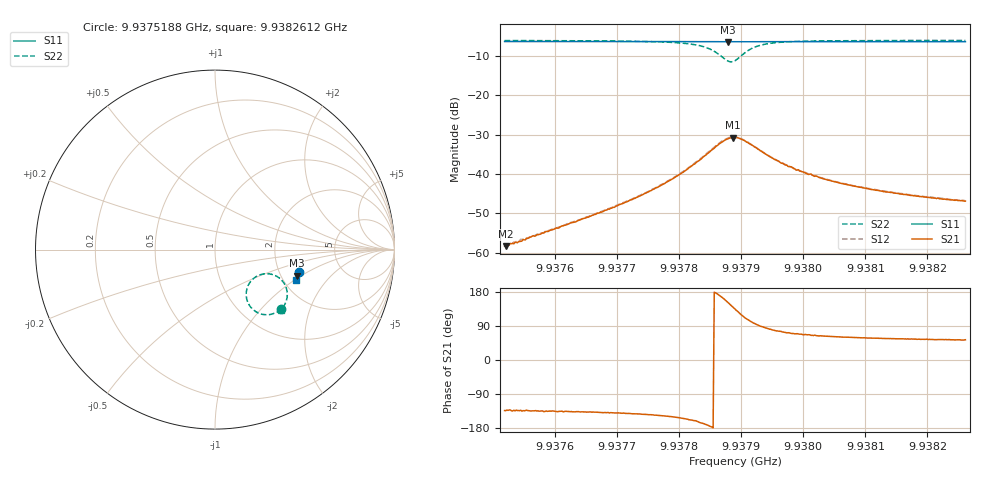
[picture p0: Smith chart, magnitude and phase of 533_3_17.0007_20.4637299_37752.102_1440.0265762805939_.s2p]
#  HZ  S  RI  R  50.00
! Rohde & Schwarz Vector Network Analyzer
! Rohde-Schwarz,ZNB20-2Port,1311601062101988,3.16
! Created: UTC 3/20/2024, 11:16:00 PM
! freq[Hz]  re:S11  im:S11  re:S21  im:S21  re:S12  im:S12  re:S22  im:S22
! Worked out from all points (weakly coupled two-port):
!   401 points, 9.9375188 GHz to 9.9382612 GHz, reference 50 ohm
!   highest |S21| = -30.75 dB at 9.9378863 GHz (marker M1); lowest = -58.3 dB at 9.9375207 GHz (marker M2)
!   lowest |S11| = -6.4 dB at 9.9378789 GHz (marker M3), VSWR 2.83, Z = 121 - j45.6 ohm
!   |S11| at or under -10 dB: nowhere
!   |S22| runs from -11.5 to -6.1 dB; largest |S21 - S12| = 0.0012
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9.93751884e9  0.4668 -0.1227  -0.000834 -0.00088  -0.000866 -0.000859  0.3692 -0.3318
9.9375207e9  0.4667 -0.1227  -0.000835 -0.000876  -0.000866 -0.000856  0.3689 -0.3318
9.93754297e9  0.4662 -0.1243  -0.000961 -0.00101  -0.000974 -0.00104  0.3668 -0.3337
9.93764319e9  0.4638 -0.1311  -0.00195 -0.00184  -0.00199 -0.00182  0.353 -0.3436
9.93771371e9  0.462 -0.1359  -0.00341 -0.00276  -0.00347 -0.00277  0.3368 -0.3524
9.93776753e9  0.4604 -0.1395  -0.00578 -0.00384  -0.00593 -0.00383  0.3137 -0.3604
9.9378065e9  0.4591 -0.1423  -0.00947 -0.00459  -0.00975 -0.00458  0.2809 -0.3629
9.93783805e9  0.4576 -0.1443  -0.0159 -0.00364  -0.0161 -0.00345  0.2307 -0.3479
9.93785846e9  0.4563 -0.1452  -0.022 0.00106  -0.0226 0.00149  0.1868 -0.3015
9.9378696e9  0.4555 -0.1455  -0.0247 0.00671  -0.0253 0.00772  0.1737 -0.2516
9.93787888e9  0.4551 -0.145  -0.0246 0.0133  -0.0248 0.0145  0.1846 -0.1998
9.9378863e9  0.4552 -0.1451  -0.0223 0.0186  -0.0221 0.0195  0.2123 -0.163
9.93789001e9  0.4554 -0.1449  -0.0203 0.0206  -0.0199 0.0216  0.2312 -0.1494
9.93789929e9  0.4557 -0.1449  -0.0141 0.0241  -0.0136 0.0248  0.2837 -0.1345
9.93791228e9  0.4563 -0.1455  -0.00642 0.0237  -0.00553 0.0243  0.3445 -0.1491
9.93793269e9  0.4567 -0.1474  0.00052 0.0195  0.00105 0.0193  0.3898 -0.1957
9.93797352e9  0.4562 -0.1508  0.00412 0.0123  0.00421 0.0122  0.4025 -0.2576
9.93801435e9  0.4552 -0.1539  0.00402 0.00878  0.0042 0.00878  0.3965 -0.2867
9.93806446e9  0.454 -0.1573  0.00371 0.00651  0.00384 0.00651  0.3884 -0.3056
9.93813869e9  0.452 -0.1623  0.00323 0.00487  0.00338 0.00486  0.3785 -0.3213
9.93820736e9  0.4502 -0.1666  0.0029 0.00403  0.00305 0.00403  0.3714 -0.3306
9.93826118e9  0.4486 -0.1702  0.00269 0.00363  0.00282 0.0036  0.3665 -0.3361
